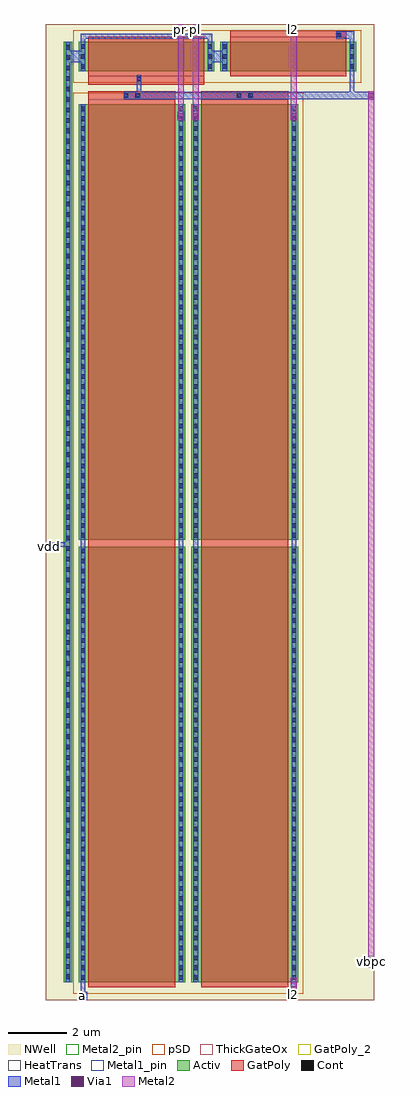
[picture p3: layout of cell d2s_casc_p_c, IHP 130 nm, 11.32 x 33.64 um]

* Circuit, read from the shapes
.subckt d2s_casc_p_c a l2 pl pr vbpc vdd
XM1 pr vbpc a vdd sg13_hv_pmos w=15u l=3u m=2
XM2 vdd vbpc vdd vdd sg13_hv_pmos w=1u l=4u
XM3 l2 vbpc pl vdd sg13_hv_pmos w=15u l=3u m=2
XM4 vbpc vbpc vdd vdd sg13_hv_pmos w=1u l=4u
.ends

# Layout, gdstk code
import gdstk
lib = gdstk.Library(unit=1e-6, precision=1e-09)
def R(c, l, rs):  # rectangles x0, y0, x1, y1
    for r in rs: c.add(gdstk.rectangle(r[:2], r[2:], *l))
def A(c, l, x, y, w, h, nx, ny, dx, dy):  # array of equal rectangles
    R(c, l, [(x+i*dx, y+j*dy, x+i*dx+w, y+j*dy+h) for i in range(nx) for j in range(ny)])
Activ = (1, 0)
GatPoly = (5, 0)
GatPoly_2 = (5, 2)
Cont = (6, 0)
Metal1 = (8, 0)
Metal1_pin = (8, 2)
Metal2 = (10, 0)
Metal2_pin = (10, 2)
pSD = (14, 0)
Via1 = (19, 0)
NWell = (31, 0)
ThickGateOx = (44, 0)
HeatTrans = (51, 0)

pmoshv_3 = lib.new_cell('pmosHV$3')
R(pmoshv_3, Activ, [(0,0,0.3,0.3), (0,0,3.68,15), (3.38,0,3.68,0.3)])
R(pmoshv_3, GatPoly, [(0.34,-0.18,3.34,15.18)])
R(pmoshv_3, GatPoly_2, [(0.34,-0.18,3.34,15.18)])
A(pmoshv_3, Cont, 0.07, 0.07, 0.16, 0.16, 1, 3, 0, 0.34)
A(pmoshv_3, Cont, 3.45, 0.07, 0.16, 0.16, 1, 3, 0, 0.34)
A(pmoshv_3, Cont, 0.07, 1.095, 0.16, 0.16, 1, 3, 0, 0.34)
A(pmoshv_3, Cont, 3.45, 1.095, 0.16, 0.16, 1, 3, 0, 0.34)
A(pmoshv_3, Cont, 0.07, 2.12, 0.16, 0.16, 1, 3, 0, 0.34)
A(pmoshv_3, Cont, 3.45, 2.12, 0.16, 0.16, 1, 3, 0, 0.34)
A(pmoshv_3, Cont, 0.07, 3.83, 0.16, 0.16, 1, 3, 0, 0.34)
A(pmoshv_3, Cont, 3.45, 3.83, 0.16, 0.16, 1, 3, 0, 0.34)
A(pmoshv_3, Cont, 0.07, 4.855, 0.16, 0.16, 1, 3, 0, 0.34)
A(pmoshv_3, Cont, 3.45, 4.855, 0.16, 0.16, 1, 3, 0, 0.34)
A(pmoshv_3, Cont, 0.07, 6.565, 0.16, 0.16, 1, 3, 0, 0.34)
A(pmoshv_3, Cont, 3.45, 6.565, 0.16, 0.16, 1, 3, 0, 0.34)
A(pmoshv_3, Cont, 0.07, 7.59, 0.16, 0.16, 1, 3, 0, 0.34)
A(pmoshv_3, Cont, 3.45, 7.59, 0.16, 0.16, 1, 3, 0, 0.34)
A(pmoshv_3, Cont, 0.07, 9.3, 0.16, 0.16, 1, 3, 0, 0.34)
A(pmoshv_3, Cont, 3.45, 9.3, 0.16, 0.16, 1, 3, 0, 0.34)
A(pmoshv_3, Cont, 0.07, 10.325, 0.16, 0.16, 1, 3, 0, 0.34)
A(pmoshv_3, Cont, 3.45, 10.325, 0.16, 0.16, 1, 3, 0, 0.34)
A(pmoshv_3, Cont, 0.07, 12.035, 0.16, 0.16, 1, 3, 0, 0.34)
A(pmoshv_3, Cont, 3.45, 12.035, 0.16, 0.16, 1, 3, 0, 0.34)
A(pmoshv_3, Cont, 0.07, 13.06, 0.16, 0.16, 1, 3, 0, 0.34)
A(pmoshv_3, Cont, 3.45, 13.06, 0.16, 0.16, 1, 3, 0, 0.34)
R(pmoshv_3, Cont, [(0.07,3.145,0.23,3.305), (3.45,3.145,3.61,3.305), (0.07,3.485,0.23,3.645), (3.45,3.485,3.61,3.645), (0.07,5.88,0.23,6.04), (3.45,5.88,3.61,6.04), (0.07,6.22,0.23,6.38), (3.45,6.22,3.61,6.38), (0.07,8.615,0.23,8.775), (3.45,8.615,3.61,8.775), (0.07,8.955,0.23,9.115), (3.45,8.955,3.61,9.115), (0.07,11.35,0.23,11.51), (3.45,11.35,3.61,11.51), (0.07,11.69,0.23,11.85), (3.45,11.69,3.61,11.85), (0.07,14.085,0.23,14.245), (3.45,14.085,3.61,14.245), (0.07,14.425,0.23,14.585), (3.45,14.425,3.61,14.585), (0.07,14.77,0.23,14.93), (3.45,14.77,3.61,14.93)])
R(pmoshv_3, Metal1, [(0.07,0,0.23,15), (3.45,0,3.61,15)])
R(pmoshv_3, Metal1_pin, [(0.07,0,0.23,15), (3.45,0,3.61,15)])
R(pmoshv_3, pSD, [(-0.18,-0.4,3.86,15.4)])
R(pmoshv_3, NWell, [(-0.62,-0.62,4.3,15.62)])
R(pmoshv_3, ThickGateOx, [(-0.62,-0.62,4.3,15.62)])
R(pmoshv_3, HeatTrans, [(0.34,-0.18,3.34,15.18)])
pmoshv_3.add(gdstk.Label('pmosHV', (1.84,7.5), layer=63, texttype=0))
pmoshv_3.add(gdstk.Label('pmos', (1.84,7.5), layer=51, texttype=0))

pmoshv_4 = lib.new_cell('pmosHV$4')
R(pmoshv_4, Activ, [(0,0,0.3,0.3), (0,0,4.68,1), (4.38,0,4.68,0.3)])
R(pmoshv_4, GatPoly, [(0.34,-0.18,4.34,1.18)])
R(pmoshv_4, GatPoly_2, [(0.34,-0.18,4.34,1.18)])
A(pmoshv_4, Cont, 0.07, 0.07, 0.16, 0.16, 1, 3, 0, 0.35)
A(pmoshv_4, Cont, 4.45, 0.07, 0.16, 0.16, 1, 3, 0, 0.35)
R(pmoshv_4, Metal1, [(0.07,0,0.23,1), (4.45,0,4.61,1)])
R(pmoshv_4, Metal1_pin, [(0.07,0,0.23,1), (4.45,0,4.61,1)])
R(pmoshv_4, pSD, [(-0.18,-0.4,4.86,1.4)])
R(pmoshv_4, NWell, [(-0.62,-0.62,5.3,1.62)])
R(pmoshv_4, ThickGateOx, [(-0.62,-0.62,5.3,1.62)])
R(pmoshv_4, HeatTrans, [(0.34,-0.18,4.34,1.18)])
pmoshv_4.add(gdstk.Label('pmosHV', (2.34,0.5), layer=63, texttype=0))
pmoshv_4.add(gdstk.Label('pmos', (2.34,0.5), layer=51, texttype=0))

d2s_casc_p_c = lib.new_cell('d2s_casc_p_c')
R(d2s_casc_p_c, Activ, [(0.62,0.62,0.92,33.02)])
R(d2s_casc_p_c, GatPoly, [(1.47,30.87,4.47,31.33), (5.36,30.87,8.36,31.33), (1.47,31.54,5.47,32.02), (6.36,33.02,10.36,33.41)])
A(d2s_casc_p_c, Cont, 0.69, 0.72, 0.16, 0.16, 1, 90, 0, 0.36)
R(d2s_casc_p_c, Cont, [(2.69,31.1,2.85,31.26), (3.09,31.1,3.25,31.26), (6.58,31.1,6.74,31.26), (6.98,31.1,7.14,31.26), (3.13,31.67,3.29,31.83), (10.02,33.18,10.18,33.34)])
R(d2s_casc_p_c, Metal1, [(1.135,0,1.425,0.29), (1.2,0,1.36,0.62), (8.445,0.24,8.655,0.53), (8.47,0.24,8.63,0.62), (0.69,0.62,0.85,33.02), (0,15.49,0.29,15.78), (1.2,15.57,1.36,15.92), (4.58,15.57,4.74,15.92), (5.09,15.57,5.25,15.92), (8.47,15.57,8.63,15.92), (0,15.62,0.85,15.78), (4.555,30.325,4.765,30.615), (5.065,30.325,5.275,30.615), (8.445,30.325,8.655,30.615), (11.11,31.035,11.32,31.325), (2.69,31.05,11.32,31.31), (3.13,31.05,3.29,31.88), (10.47,31.05,10.63,32.39), (1.2,32.02,1.36,33.3), (5.58,32.02,5.74,33.3), (10.47,32.02,10.63,33.39), (0.85,32.32,1.36,32.72), (5.58,32.32,6.25,32.72), (10.02,33.13,10.63,33.39), (1.2,33.14,5.74,33.3)])
R(d2s_casc_p_c, Metal1_pin, [(1.135,0,1.425,0.29), (0,15.49,0.29,15.78)])
R(d2s_casc_p_c, Metal2, [(8.45,0,8.65,0.77), (8.45,0.24,8.65,0.53), (11.115,1.12,11.315,31.18), (4.56,30.32,4.76,33.64), (5.07,30.32,5.27,33.64), (8.45,30.32,8.65,33.64), (4.56,30.325,4.76,30.615), (5.07,30.325,5.27,30.615), (8.45,30.325,8.65,30.615), (11.115,31.035,11.315,31.325)])
R(d2s_casc_p_c, Metal2_pin, [(8.45,0,8.65,0.4), (11.115,1.12,11.315,1.52), (4.56,33.24,4.76,33.64), (5.07,33.24,5.27,33.64), (8.45,33.24,8.65,33.64)])
R(d2s_casc_p_c, Via1, [(8.455,0.29,8.645,0.48), (4.565,30.375,4.755,30.565), (5.075,30.375,5.265,30.565), (8.455,30.375,8.645,30.565), (11.12,31.085,11.31,31.275)])
R(d2s_casc_p_c, NWell, [(0,0,11.32,33.64)])
R(d2s_casc_p_c, ThickGateOx, [(0,0,11.32,33.64)])
d2s_casc_p_c.add(gdstk.Reference(pmoshv_3, (1.13,0.62)))
d2s_casc_p_c.add(gdstk.Reference(pmoshv_3, (1.13,15.87)))
d2s_casc_p_c.add(gdstk.Reference(pmoshv_3, (5.02,0.62)))
d2s_casc_p_c.add(gdstk.Reference(pmoshv_3, (5.02,15.87)))
d2s_casc_p_c.add(gdstk.Reference(pmoshv_4, (1.13,32.02)))
d2s_casc_p_c.add(gdstk.Reference(pmoshv_4, (6.02,32.02)))
d2s_casc_p_c.add(gdstk.Label('a', (1.28,0.145), layer=8, texttype=25))
d2s_casc_p_c.add(gdstk.Label('vdd', (0.145,15.635), layer=8, texttype=25))
d2s_casc_p_c.add(gdstk.Label('l2', (8.55,0.2), layer=10, texttype=25))
d2s_casc_p_c.add(gdstk.Label('pr', (4.66,33.44), layer=10, texttype=25))
d2s_casc_p_c.add(gdstk.Label('pl', (5.17,33.44), layer=10, texttype=25))
d2s_casc_p_c.add(gdstk.Label('l2', (8.55,33.44), layer=10, texttype=25))
d2s_casc_p_c.add(gdstk.Label('vbpc', (11.215,1.32), layer=10, texttype=25))

lib.write_gds('d2s_casc_p_c.gds')
